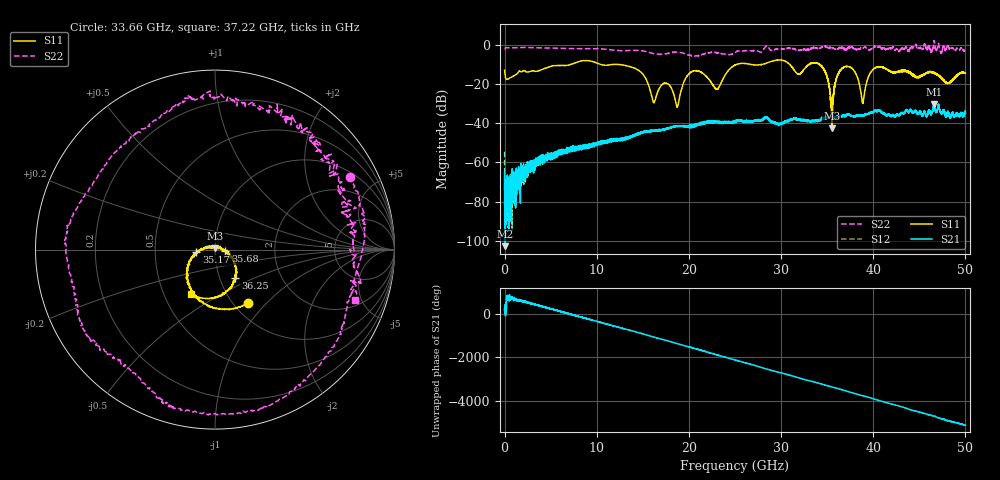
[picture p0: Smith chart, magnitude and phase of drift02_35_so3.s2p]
!Created with skrf (http://scikit-rf.org).
# Hz S RI R 50.0
!freq ReS11 ImS11 ReS21 ImS21 ReS12 ImS12 ReS22 ImS22
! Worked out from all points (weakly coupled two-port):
!   10001 points, 300 kHz to 50 GHz, reference 50 ohm
!   highest |S21| = -30.21 dB at 46.6 GHz (marker M1); lowest = -102.8 dB at 60.3 MHz (marker M2)
!   lowest |S11| = -42.5 dB at 35.51 GHz (marker M3), VSWR 1.02, Z = 50.2 + j0.731 ohm
!   |S11| at or under -10 dB: start of sweep to 7.177 GHz; 12.33 GHz to 25.16 GHz (12.84 GHz wide, 68.5 % of centre); 34.2 GHz to end of sweep (the widest 3 of 15)
!   |S22| runs from -5.7 to 2.3 dB; largest |S21 - S12| = 0.0033
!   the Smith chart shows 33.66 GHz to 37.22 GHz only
!   S11 on the Smith chart (normalised r, x): 33.66 GHz: 1.17, -0.79; 35.17 GHz: 0.81, -0.02; 35.68 GHz: 1.12, -0.02; 36.25 GHz: 1.19, -0.39; 37.22 GHz: 0.68, -0.37
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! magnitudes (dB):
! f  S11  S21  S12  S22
! 300 kHz  -12.9  -65.4  -54.5  -2.1
! 60.3 MHz  -15.6  -102.8  -87.1  -1.6
! 280.3 MHz  -17.6  -67.2  -73.6  -1.4
! 2.53 GHz  -13.8  -65.3  -64.3  -1.3
! 8.335 GHz  -8.2  -52.4  -52.0  -1.9
! 16.67 GHz  -23.3  -43.8  -43.8  -4.7
! 18.74 GHz  -31.6  -41.3  -41.6  -3.7
! 20.24 GHz  -13.9  -41.4  -42.0  -5.4
! 23.04 GHz  -22.6  -39.3  -39.2  -4.1
! 25 GHz  -10.3  -39.6  -39.0  -3.9
! 33.34 GHz  -9.3  -38.8  -39.1  -1.6
! 33.66 GHz  -9.1  -39.1  -38.5  -1.4
! 35.17 GHz  -19.6  -37.1  -37.1  -1.5
! 35.51 GHz  -42.5  -37.1  -36.8  -1.8
! 35.68 GHz  -24.8  -36.7  -36.7  -1.6
! 36.25 GHz  -14.2  -36.5  -36.4  -1.8
! 37.22 GHz  -11.0  -35.3  -35.5  -1.6
! 38.86 GHz  -29.8  -35.8  -35.9  -1.4
! 39.96 GHz  -12.7  -34.5  -34.5  -1.9
! 41.67 GHz  -13.0  -35.5  -35.6  -1.8
! 46.6 GHz  -14.4  -30.2  -30.5  2.0
! 50 GHz  -14.5  -34.9  -34.5  -2.7
